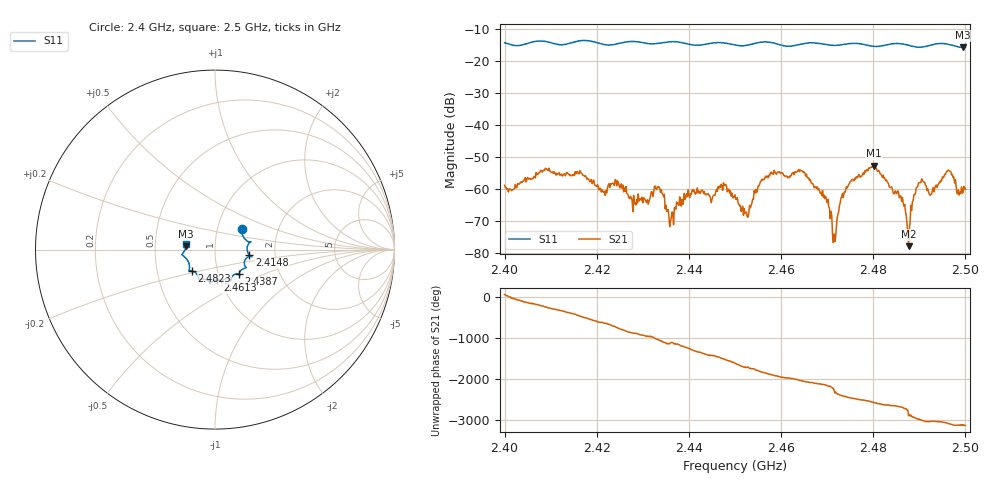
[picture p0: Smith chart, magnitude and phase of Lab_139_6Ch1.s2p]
# Hz S RI R 50
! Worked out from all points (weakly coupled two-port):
!   601 points, 2.4 GHz to 2.5 GHz, reference 50 ohm
!   highest |S21| = -52.79 dB at 2.4802 GHz (marker M1); lowest = -77.9 dB at 2.4877 GHz (marker M2)
!   lowest |S11| = -15.7 dB at 2.4995 GHz (marker M3), VSWR 1.39, Z = 36 + j1.53 ohm
!   |S11| at or under -10 dB: start of sweep to end of sweep
!   S12 and S22 are empty: the file has one direction only
!   S11 on the Smith chart (normalised r, x): 2.4 GHz: 1.31, +0.32; 2.4148 GHz: 1.47, -0.10; 2.4387 GHz: 1.25, -0.36; 2.4613 GHz: 0.97, -0.34; 2.4823 GHz: 0.75, -0.18; 2.5 GHz: 0.72, +0.04
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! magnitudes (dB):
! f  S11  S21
! 2.4 GHz  -14.3  -58.9
! 2.4148 GHz  -14.2  -55.9
! 2.4167 GHz  -13.6  -55.1
! 2.4283 GHz  -14.0  -64.5
! 2.4333 GHz  -14.5  -59.6
! 2.4362 GHz  -14.0  -69.1
! 2.4387 GHz  -14.4  -64.9
! 2.45 GHz  -15.1  -61.9
! 2.4523 GHz  -15.2  -67.6
! 2.4562 GHz  -14.1  -57.0
! 2.4613 GHz  -15.4  -56.2
! 2.4667 GHz  -14.3  -58.3
! 2.4717 GHz  -15.2  -76.5
! 2.4745 GHz  -14.6  -59.2
! 2.4802 GHz  -15.5  -52.8
! 2.4823 GHz  -15.2  -56.7
! 2.4833 GHz  -14.9  -58.5
! 2.4877 GHz  -15.1  -77.9
! 2.4903 GHz  -15.7  -58.0
! 2.4963 GHz  -14.8  -54.2
! 2.4995 GHz  -15.7  -61.1
! 2.5 GHz  -15.7  -60.1
